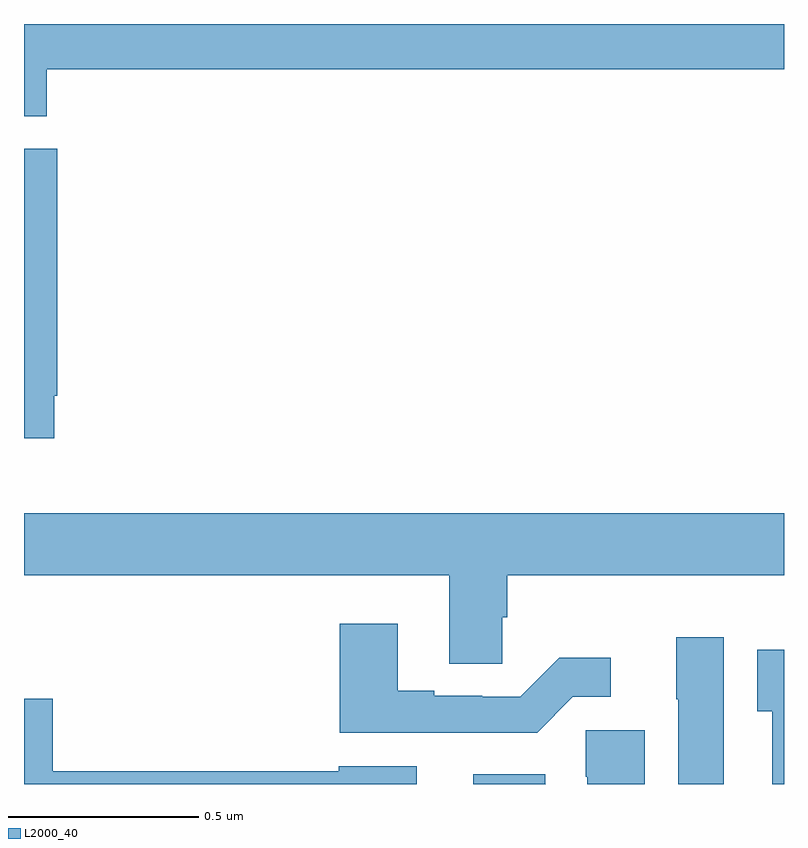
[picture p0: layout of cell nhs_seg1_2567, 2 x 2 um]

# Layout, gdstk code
import gdstk
lib = gdstk.Library(unit=1e-6, precision=1e-09)
def P(c, l, *ps):  # polygons
    for p in ps: c.add(gdstk.Polygon(p, *l))
L2000_40 = (2000, 40)

nhs_seg1_2567 = lib.new_cell('nhs_seg1_2567')
P(nhs_seg1_2567, L2000_40, [(143.06,537.08),(145,537.08),(145,537.199),(143,537.199),(143,536.956),(143.06,536.956)],
  [(143.08,536.221),(143.087,536.221),(143.087,536.871),(143,536.871),(143,536.109),(143.08,536.109)],
  [(144.258,535.638),(144.272,535.638),(144.272,535.748),(145,535.748),(145,535.912),(143,535.912),(143,535.748),(144.119,535.748),(144.119,535.516),(144.258,535.516)],
  [(144.444,535.428),(144.544,535.428),(144.544,535.531),(144.409,535.531),(144.306,535.428),(144.206,535.428),(144.206,535.431),(144.079,535.431),(144.079,535.444),(143.983,535.444),(143.983,535.621),(143.831,535.621),(143.831,535.334),(144.35,535.334)],
  [(144.841,535.585),(144.716,535.585),(144.716,535.422),(144.722,535.422),(144.722,535.199),(144.841,535.199)],
  [(145,535.552),(144.929,535.552),(144.929,535.391),(144.969,535.391),(144.969,535.199),(145,535.199)],
  [(144.034,535.246),(143.828,535.246),(143.828,535.232),(143.075,535.232),(143.075,535.423),(143,535.423),(143,535.199),(144.034,535.199)],
  [(144.634,535.341),(144.478,535.341),(144.478,535.218),(144.482,535.218),(144.482,535.199),(144.634,535.199)],
  [(144.372,535.2),(144.372,535.225),(144.182,535.225),(144.182,535.199),(144.373,535.199)])

lib.write_gds('nhs_seg1_2567.gds')
